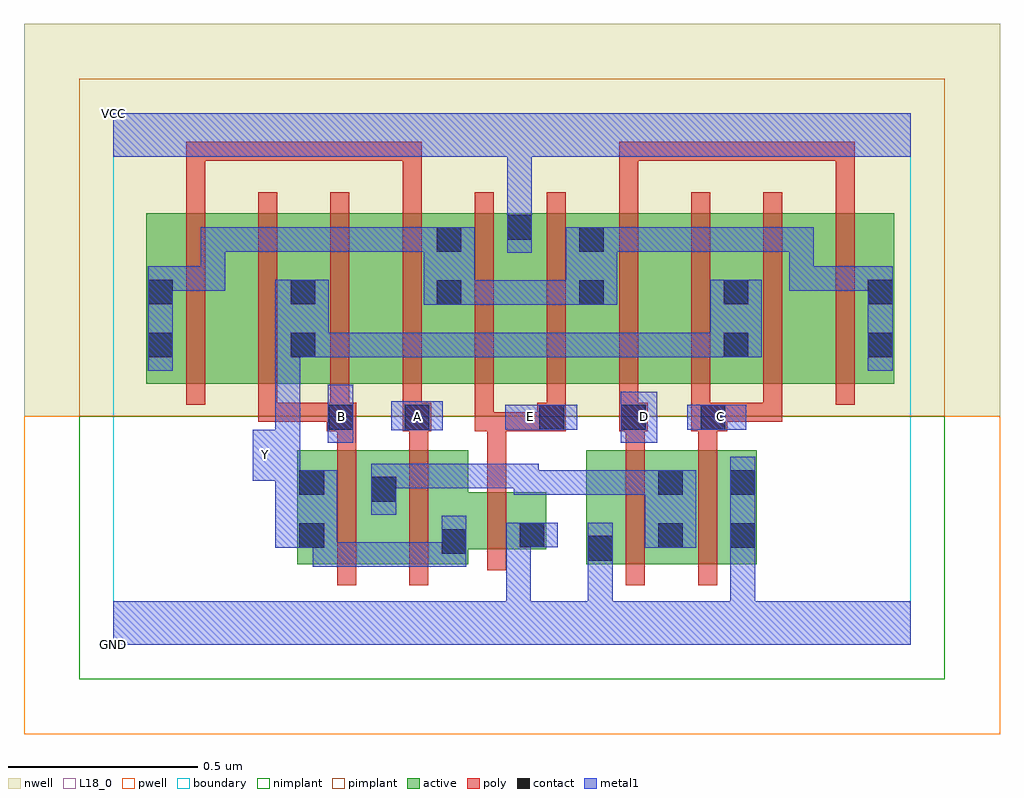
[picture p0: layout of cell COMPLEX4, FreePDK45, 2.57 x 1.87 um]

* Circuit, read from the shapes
.subckt COMPLEX4 A B C D E GND VCC Y
M1 n1 B Y VSUBS nfet w=0.3u l=0.05u
M2 Y A n1 VSUBS nfet w=0.3u l=0.05u
M3 GND E Y VSUBS nfet w=0.15u l=0.05u
M4 n1 D GND VSUBS nfet w=0.3u l=0.05u
M5 GND C n1 VSUBS nfet w=0.3u l=0.05u
M6 n2 A n3 n4 pfet w=0.45u l=0.05u
M7 Y B n2 n4 pfet w=0.45u l=0.05u
M8 n5 B Y n4 pfet w=0.45u l=0.05u
M9 n3 A n5 n4 pfet w=0.45u l=0.05u
M10 VCC E n3 n4 pfet w=0.45u l=0.05u m=2
M11 n6 D n3 n4 pfet w=0.45u l=0.05u
M12 Y C n6 n4 pfet w=0.45u l=0.05u
M13 n7 C Y n4 pfet w=0.45u l=0.05u
M14 n3 D n7 n4 pfet w=0.45u l=0.05u
.ends

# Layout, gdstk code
import gdstk
lib = gdstk.Library(unit=1e-6, precision=1e-09)
def R(c, l, rs):  # rectangles x0, y0, x1, y1
    for r in rs: c.add(gdstk.rectangle(r[:2], r[2:], *l))
def A(c, l, x, y, w, h, nx, ny, dx, dy):  # array of equal rectangles
    R(c, l, [(x+i*dx, y+j*dy, x+i*dx+w, y+j*dy+h) for i in range(nx) for j in range(ny)])
active = (1, 0)
pwell = (2, 0)
nwell = (3, 0)
nimplant = (4, 0)
pimplant = (5, 0)
poly = (9, 0)
contact = (10, 0)
metal1 = (11, 0)
L18_0 = (18, 0)
boundary = (235, 0)

complex4 = lib.new_cell('COMPLEX4')
R(complex4, active, [(0.485,0.212,0.56,0.512), (0.485,0.212,0.75,0.512), (0.675,0.212,0.935,0.512), (0.86,0.212,0.935,0.31), (1.245,0.212,1.32,0.512), (1.245,0.212,1.505,0.512), (1.43,0.212,1.695,0.512), (1.43,0.212,1.505,0.465), (1.62,0.212,1.695,0.512), (0.675,0.247,0.75,0.447), (0.86,0.252,1.14,0.402), (1.065,0.252,1.14,0.402), (0.087,0.687,0.162,1.107), (0.087,0.687,0.312,1.137), (0.312,0.687,0.537,1.137), (0.462,0.687,0.692,1.137), (0.462,0.687,0.537,1.07), (0.692,0.687,0.922,1.137), (0.847,0.687,1.107,1.137), (1.032,0.687,1.297,1.137), (1.222,0.687,1.452,1.137), (1.452,0.687,1.677,1.137), (1.602,0.687,1.832,1.137), (1.602,0.687,1.677,1.07), (1.832,0.687,2.057,1.137), (1.982,0.687,2.057,1.107), (1.222,0.702,1.297,1.107), (0.847,0.722,0.922,1.107), (1.032,0.832,1.107,1.137)])
R(complex4, pwell, [(-0.235,-0.235,2.335,0.602)])
R(complex4, nwell, [(-0.235,0.602,2.335,1.635)])
R(complex4, nimplant, [(-0.09,-0.09,2.19,0.602)])
R(complex4, pimplant, [(-0.09,0.602,2.19,1.49)])
A(complex4, poly, 0.382, 0.587, 0.05, 0.095, 3, 1, 0.19, 0)
A(complex4, poly, 1.142, 0.587, 0.05, 0.095, 4, 1, 0.19, 0)
A(complex4, poly, 0.192, 0.632, 0.05, 0.56, 10, 1, 0.19, 0)
A(complex4, poly, 0.192, 1.142, 0.05, 0.183, 4, 1, 0.57, 0)
R(complex4, poly, [(0.59,0.157,0.64,0.567), (0.78,0.157,0.83,0.567), (1.35,0.157,1.4,0.567), (1.54,0.157,1.59,0.567), (0.985,0.197,1.035,0.457), (0.985,0.407,1.035,0.612), (0.59,0.517,0.64,0.612), (0.78,0.517,0.83,0.612), (1.35,0.517,1.4,0.612), (1.54,0.517,1.59,0.612), (0.562,0.562,0.64,0.637), (0.762,0.562,0.837,0.637), (0.952,0.562,1.002,0.682), (0.952,0.562,1.035,0.612), (0.985,0.562,1.167,0.612), (1.117,0.562,1.167,0.612), (1.117,0.562,1.167,0.612), (1.117,0.562,1.192,0.637), (1.332,0.562,1.407,0.637), (1.522,0.562,1.617,0.637), (0.382,0.587,0.432,0.637), (0.382,0.587,0.432,0.637), (0.382,0.587,0.432,0.637), (0.382,0.587,0.612,0.637), (1.567,0.587,1.617,0.637), (1.567,0.587,1.617,0.637), (1.567,0.587,1.762,0.637), (1.712,0.587,1.762,0.637), (0.192,1.275,0.242,1.325), (0.192,1.275,0.242,1.325), (0.192,1.275,0.242,1.325), (0.192,1.275,0.48,1.325), (0.43,1.275,0.48,1.325), (0.43,1.275,0.48,1.325), (0.43,1.275,0.48,1.325), (0.43,1.275,0.68,1.325), (0.63,1.275,0.68,1.325), (0.63,1.275,0.812,1.325), (0.762,1.275,0.812,1.325), (0.762,1.275,0.812,1.325), (0.762,1.275,0.812,1.325), (1.332,1.275,1.382,1.325), (1.332,1.275,1.382,1.325), (1.332,1.275,1.382,1.325), (1.332,1.275,1.63,1.325), (1.58,1.275,1.63,1.325), (1.58,1.275,1.63,1.325), (1.58,1.275,1.63,1.325), (1.58,1.275,1.82,1.325), (1.77,1.275,1.82,1.325), (1.77,1.275,1.952,1.325), (1.902,1.275,1.952,1.325), (1.902,1.275,1.952,1.325), (1.902,1.275,1.952,1.325)])
R(complex4, contact, [(1.25,0.222,1.315,0.287), (0.865,0.24,0.93,0.305), (0.49,0.255,0.555,0.32), (1.435,0.255,1.5,0.32), (1.625,0.255,1.69,0.32), (1.07,0.257,1.135,0.322), (0.68,0.377,0.745,0.442), (0.49,0.395,0.555,0.46), (1.435,0.395,1.5,0.46), (1.625,0.395,1.69,0.46), (0.567,0.567,0.632,0.632), (0.767,0.567,0.832,0.632), (1.122,0.567,1.187,0.632), (1.337,0.567,1.402,0.632), (1.547,0.567,1.612,0.632), (0.092,0.757,0.157,0.822), (0.467,0.757,0.532,0.822), (1.607,0.757,1.672,0.822), (1.987,0.757,2.052,0.822), (0.852,0.895,0.917,0.96), (1.227,0.895,1.292,0.96), (0.092,0.897,0.157,0.962), (0.467,0.897,0.532,0.962), (1.607,0.897,1.672,0.962), (1.987,0.897,2.052,0.962), (0.852,1.035,0.917,1.1), (1.227,1.035,1.292,1.1), (1.037,1.067,1.102,1.132)])
R(complex4, metal1, [(0,0,2.1,0.115), (1.035,0.05,1.1,0.322), (1.25,0.05,1.315,0.115), (1.25,0.05,1.315,0.115), (1.25,0.05,1.315,0.252), (1.625,0.05,1.69,0.115), (1.625,0.05,1.69,0.115), (1.625,0.05,1.69,0.285), (1.25,0.187,1.315,0.322), (0.525,0.205,0.59,0.27), (0.525,0.205,0.59,0.27), (0.525,0.205,0.59,0.27), (0.525,0.205,0.745,0.27), (0.525,0.205,0.59,0.32), (0.68,0.205,0.745,0.27), (0.68,0.205,0.745,0.27), (0.68,0.205,0.745,0.27), (0.68,0.205,0.93,0.27), (0.865,0.205,0.93,0.34), (1.625,0.22,1.69,0.495), (0.427,0.255,0.59,0.46), (1.4,0.255,1.535,0.46), (1.035,0.257,1.1,0.322), (1.035,0.257,1.1,0.322), (1.035,0.257,1.1,0.322), (1.035,0.257,1.1,0.322), (1.035,0.257,1.17,0.322), (0.68,0.342,0.745,0.477), (0.427,0.395,0.492,0.497), (1.055,0.395,1.257,0.46), (1.055,0.395,1.12,0.477), (1.192,0.395,1.257,0.46), (1.192,0.395,1.257,0.46), (1.192,0.395,1.257,0.46), (1.192,0.395,1.465,0.46), (0.68,0.412,0.77,0.477), (0.705,0.412,0.77,0.477), (0.705,0.412,0.96,0.477), (0.895,0.412,0.96,0.477), (0.895,0.412,0.96,0.477), (0.895,0.412,0.96,0.477), (0.895,0.412,1.12,0.477), (1.055,0.412,1.12,0.477), (1.055,0.412,1.12,0.477), (0.367,0.432,0.492,0.567), (0.427,0.502,0.492,0.822), (0.565,0.532,0.632,0.685), (1.337,0.532,1.432,0.667), (0.732,0.565,0.867,0.642), (1.032,0.567,1.222,0.632), (1.512,0.567,1.667,0.632), (0.092,0.722,0.157,0.997), (1.987,0.722,2.052,0.997), (0.427,0.757,0.567,0.962), (0.502,0.757,0.567,0.822), (0.502,0.757,0.567,0.822), (0.502,0.757,0.745,0.822), (0.68,0.757,0.745,0.822), (0.68,0.757,0.745,0.822), (0.68,0.757,0.745,0.822), (0.68,0.757,0.96,0.822), (0.895,0.757,0.96,0.822), (0.895,0.757,0.96,0.822), (0.895,0.757,0.96,0.822), (0.895,0.757,1.12,0.822), (1.055,0.757,1.12,0.822), (1.055,0.757,1.12,0.822), (1.055,0.757,1.12,0.822), (1.055,0.757,1.257,0.822), (1.192,0.757,1.257,0.822), (1.192,0.757,1.257,0.822), (1.192,0.757,1.257,0.822), (1.192,0.757,1.5,0.822), (1.435,0.757,1.5,0.822), (1.435,0.757,1.5,0.822), (1.435,0.757,1.5,0.822), (1.435,0.757,1.637,0.822), (1.572,0.757,1.707,0.962), (0.817,0.895,0.952,1.1), (0.887,0.895,0.952,0.96), (0.887,0.895,0.952,0.96), (0.887,0.895,1.12,0.96), (1.055,0.895,1.12,0.96), (1.055,0.895,1.12,0.96), (1.055,0.895,1.12,0.96), (1.055,0.895,1.257,0.96), (1.192,0.895,1.327,1.1), (0.092,0.932,0.157,0.997), (0.092,0.932,0.157,0.997), (0.092,0.932,0.295,0.997), (0.23,0.932,0.295,0.997), (0.23,0.932,0.295,1.1), (1.78,0.932,1.845,0.997), (1.78,0.932,2.052,0.997), (1.78,0.932,1.845,1.1), (1.987,0.932,2.052,0.997), (1.987,0.932,2.052,0.997), (1.037,1.032,1.102,1.167), (0.23,1.035,0.295,1.1), (0.23,1.035,0.295,1.1), (0.23,1.035,0.295,1.1), (0.23,1.035,0.607,1.1), (0.542,1.035,0.607,1.1), (0.542,1.035,0.607,1.1), (0.542,1.035,0.607,1.1), (0.542,1.035,0.745,1.1), (0.68,1.035,0.745,1.1), (0.68,1.035,0.745,1.1), (0.68,1.035,0.745,1.1), (0.68,1.035,0.882,1.1), (1.262,1.035,1.327,1.1), (1.262,1.035,1.327,1.1), (1.262,1.035,1.5,1.1), (1.435,1.035,1.5,1.1), (1.435,1.035,1.5,1.1), (1.435,1.035,1.5,1.1), (1.435,1.035,1.707,1.1), (1.642,1.035,1.707,1.1), (1.642,1.035,1.707,1.1), (1.642,1.035,1.707,1.1), (1.642,1.035,1.845,1.1), (1.78,1.035,1.845,1.1), (1.037,1.102,1.102,1.167), (1.037,1.102,1.102,1.167), (1.037,1.102,1.102,1.35), (0,1.285,2.1,1.4)])
A(complex4, L18_0, 0.767, 0.567, 0.065, 0.065, 3, 1, 0.3, 0)
R(complex4, L18_0, [(0,0,2.1,0.115), (1.035,0.05,1.1,0.322), (1.25,0.05,1.315,0.115), (1.25,0.05,1.315,0.115), (1.25,0.05,1.315,0.252), (1.625,0.05,1.69,0.115), (1.625,0.05,1.69,0.115), (1.625,0.05,1.69,0.285), (1.25,0.187,1.315,0.322), (0.525,0.205,0.59,0.27), (0.525,0.205,0.59,0.27), (0.525,0.205,0.59,0.27), (0.525,0.205,0.59,0.32), (0.525,0.205,0.745,0.27), (0.68,0.205,0.745,0.27), (0.68,0.205,0.745,0.27), (0.68,0.205,0.745,0.27), (0.68,0.205,0.93,0.27), (0.865,0.205,0.93,0.34), (1.625,0.22,1.69,0.495), (0.427,0.255,0.59,0.46), (1.035,0.257,1.1,0.322), (1.035,0.257,1.1,0.322), (1.035,0.257,1.1,0.322), (1.035,0.257,1.1,0.322), (1.035,0.257,1.17,0.322), (0.427,0.395,0.492,0.497), (0.367,0.432,0.492,0.567), (0.367,0.467,0.432,0.532), (0.427,0.502,0.492,0.822), (0.565,0.532,0.632,0.685), (1.337,0.532,1.432,0.667), (0.732,0.565,0.867,0.642), (0.567,0.567,0.632,0.632), (1.032,0.567,1.222,0.632), (1.512,0.567,1.667,0.632), (1.567,0.567,1.632,0.632), (0.427,0.757,0.567,0.962), (0.502,0.757,0.567,0.822), (0.502,0.757,0.567,0.822), (0.502,0.757,0.745,0.822), (0.68,0.757,0.745,0.822), (0.68,0.757,0.745,0.822), (0.68,0.757,0.745,0.822), (0.68,0.757,0.96,0.822), (0.895,0.757,0.96,0.822), (0.895,0.757,0.96,0.822), (0.895,0.757,0.96,0.822), (0.895,0.757,1.12,0.822), (1.055,0.757,1.12,0.822), (1.055,0.757,1.12,0.822), (1.055,0.757,1.12,0.822), (1.055,0.757,1.257,0.822), (1.192,0.757,1.257,0.822), (1.192,0.757,1.257,0.822), (1.192,0.757,1.257,0.822), (1.192,0.757,1.5,0.822), (1.435,0.757,1.5,0.822), (1.435,0.757,1.5,0.822), (1.435,0.757,1.5,0.822), (1.435,0.757,1.637,0.822), (1.572,0.757,1.707,0.962), (1.037,1.032,1.102,1.167), (1.037,1.102,1.102,1.167), (1.037,1.102,1.102,1.167), (1.037,1.102,1.102,1.35), (0,1.285,2.1,1.4)])
R(complex4, boundary, [(0,0,2.1,1.4)])
complex4.add(gdstk.Label('A', (0.8,0.6), layer=11, texttype=0))
complex4.add(gdstk.Label('B', (0.6,0.6), layer=11, texttype=0))
complex4.add(gdstk.Label('C', (1.6,0.6), layer=11, texttype=0))
complex4.add(gdstk.Label('D', (1.4,0.6), layer=11, texttype=0))
complex4.add(gdstk.Label('E', (1.1,0.6), layer=11, texttype=0))
complex4.add(gdstk.Label('Y', (0.4,0.5), layer=11, texttype=0))
complex4.add(gdstk.Label('VCC', (0,1.4), layer=11, texttype=0))
complex4.add(gdstk.Label('GND', (0,0), layer=11, texttype=0))

lib.write_gds('COMPLEX4.gds')
